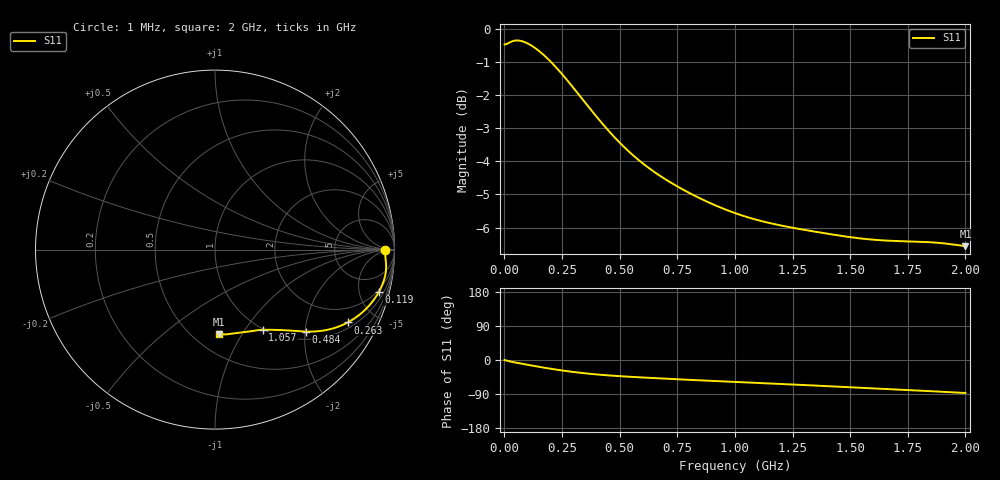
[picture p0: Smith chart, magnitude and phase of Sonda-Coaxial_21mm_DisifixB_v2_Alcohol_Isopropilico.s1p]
! TOUCHSTONE file generated by CST MICROWAVE STUDIO
! Date and time: Sun Aug  2 21:42:27 2026
! Project name: Sonda-Coaxial_21mm_DisifixB_v2_Agua_Dest.cst
! Parameters = {h_recipiente=20; l_conector=5; r_arandela=35; r_ext=10.5; r_int=3; r_recipiente=50; z_recipiente=-50}
! Header version: 2018
! Port assignment regex: !\s*Touchstone port\s*([0-9]+)\s*=\s*(CST MWS port|CST DS port)\s*([0-9]+|Zmin|Zmax)\s*\(\"(.*)\"\)(\s*mode\s*([0-9]+))?.*
! Touchstone port assignment:
! Touchstone port 1 = CST MWS port 1 ("")
# GHz S RI R 50
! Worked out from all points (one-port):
!   2000 points, 1 MHz to 2 GHz, reference 50 ohm
!   lowest |S11| = -6.6 dB at 2 GHz (marker M1), VSWR 2.77, Z = 33.2 - j40 ohm
!   |S11| at or under -10 dB: nowhere
!   S11 on the Smith chart (normalised r, x): 1 MHz: 36, -2; 119 MHz: 1.74, -7.38; 263 MHz: 1.24, -3.49; 484 MHz: 1.18, -2.02; 1.057 GHz: 0.99, -1.21; 2 GHz: 0.66, -0.80
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0.001  0.9467 -0.00278
0.008  0.9475 -0.022
0.036  0.9535 -0.0879
0.058  0.9508 -0.131
0.087  0.9367 -0.1839
0.119  0.9116 -0.2382
0.153  0.8772 -0.2899
0.186  0.8386 -0.3331
0.218  0.7983 -0.368
0.251  0.7554 -0.3969
0.263  0.7398 -0.4056
0.308  0.6827 -0.4309
0.357  0.625 -0.4472
0.42  0.5606 -0.4558
0.484  0.5069 -0.4566
0.501  0.4945 -0.4562
0.553  0.4604 -0.4541
0.61  0.4286 -0.4517
0.675  0.3973 -0.4496
0.751  0.3651 -0.4482
0.873  0.3201 -0.4469
1.001  0.2803 -0.4464
1.057  0.2647 -0.4469
1.251  0.2145 -0.4527
1.501  0.1508 -0.4608
1.751  0.0905 -0.4692
1.878  0.0563 -0.4722
2  0.0242 -0.4693
